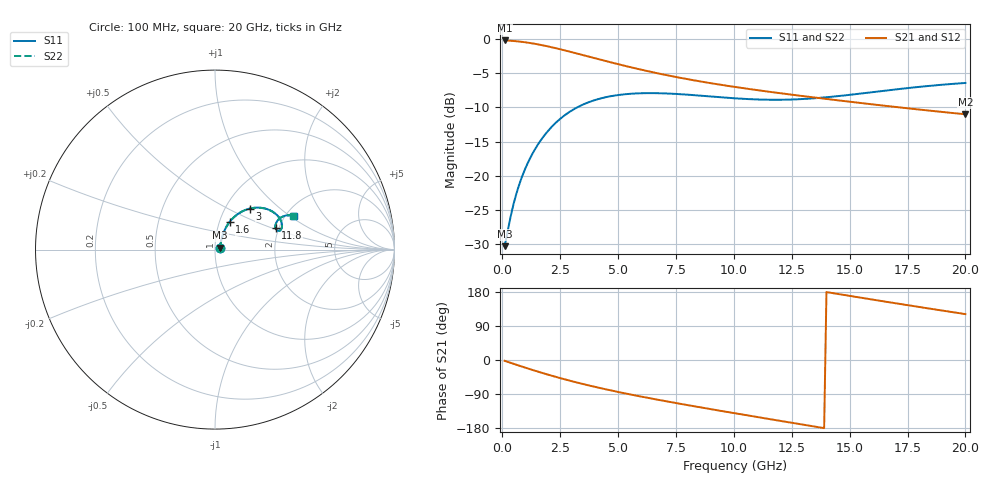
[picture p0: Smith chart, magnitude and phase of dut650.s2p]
! Touchstone file exported from HFSS 2024.1.0
!  File:  C:/UserFiles/LocalFiles/RDL_TSV_Batchsim/temp_RDL_TSV_650_1779808959.aedt
!  Generated:  11:37:45 PM May 26, 2026
!  Design:  RDL_TSV
!  Project:  temp_RDL_TSV_650_1779808959
!  Setup:  Setup1
!  Solution:  Sweep
! Variables:
!  dtsv = 10.01um
!  hbump = 3um
!  htsv = 54.76um
!  ldown = 311.27um
!  lrdl = 693.04um
!  p = 40
!  p1 = 55.72um
!  rhole = 10um
!  subl = 3705.97um
!  t = 450um
!  tdown = 4.66um
!  trdl = 3.03um
!  viad = 10um
!  wdown = 18.04um
!  wrdl = 13.01um
!  xbump = 18um
# GHz S MA R 50.000000
! Terminal data exported
! Port[1] = TM1_1_T1
! Port[2] = TM1_4_T1
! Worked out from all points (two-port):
!   200 points, 100 MHz to 20 GHz, reference 50 ohm
!   highest |S21| = -0.25 dB at 100 MHz (marker M1); lowest = -11.0 dB at 20 GHz (marker M2)
!   |S21| within 3 dB of the highest: start of sweep to 4.465 GHz
!   lowest |S11| = -30.3 dB at 100 MHz (marker M3), VSWR 1.06, Z = 52.9 + j1.18 ohm
!   |S11| at or under -10 dB: start of sweep to 3.244 GHz
!   |S22| runs from -30.3 to -6.5 dB; largest |S21 - S12| = 9.6e-15
!   S11 on the Smith chart (normalised r, x): 100 MHz: 1.06, +0.02; 1.6 GHz: 1.12, +0.36; 3 GHz: 1.30, +0.65; 11.8 GHz: 1.93, +0.52; 20 GHz: 2.20, +1.06
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0.1  0.0307 21.2  0.9713 -2.1  0.9713 -2.1  0.0307 21.2
! Gamma 0 0 0 0
! Port Impedance 50 0 50 0
0.4  0.05411 52.2  0.9655 -8.4  0.9655 -8.4  0.05411 52.2
0.7  0.08322 60.9  0.9551 -14.4  0.9551 -14.4  0.08322 60.9
0.9  0.1035 62.9  0.9463 -18.4  0.9463 -18.4  0.1035 62.9
1.1  0.124 63.6  0.9362 -22.3  0.9362 -22.3  0.124 63.6
1.6  0.1754 62.1  0.9055 -31.9  0.9055 -31.9  0.1754 62.1
1.9  0.2054 60.1  0.8843 -37.4  0.8843 -37.4  0.2054 60.0
2.3  0.243 56.6  0.8538 -44.4  0.8538 -44.4  0.2429 56.5
3  0.2997 49.7  0.798 -56.0  0.798 -56.0  0.2996 49.7
3.5  0.3319 44.8  0.7586 -63.6  0.7586 -63.6  0.3317 44.8
4.2  0.3651 38.4  0.7062 -73.7  0.7062 -73.7  0.3648 38.3
5.1  0.3903 31.3  0.646 -85.6  0.646 -85.6  0.3899 31.2
5.9  0.3998 26.2  0.5998 -95.4  0.5998 -95.4  0.3993 26.1
6.8  0.4003 21.8  0.5555 -105.8  0.5555 -105.8  0.3997 21.7
8.4  0.3863 17.2  0.4932 -123.3  0.4932 -123.3  0.3856 17.1
10.1  0.3672 16.6  0.4435 -141.1  0.4435 -141.1  0.3664 16.6
11.8  0.3586 19.3  0.4047 -158.6  0.4047 -158.6  0.3578 19.2
13.4  0.367 22.7  0.3741 -174.8  0.3741 -174.8  0.3662 22.7
14.9  0.3879 25.1  0.3488 170.2  0.3488 170.2  0.3871 25.1
16.7  0.4213 26.0  0.3218 152.5  0.3218 152.5  0.4205 25.9
18.3  0.4507 25.1  0.3007 137.1  0.3007 137.1  0.4498 25.0
20  0.4758 23.1  0.2813 121.1  0.2813 121.1  0.4749 23.0
